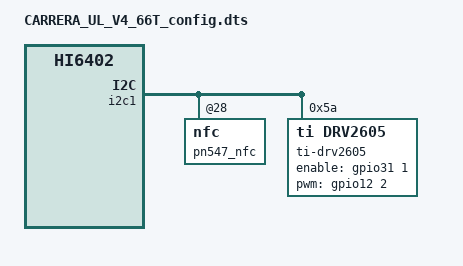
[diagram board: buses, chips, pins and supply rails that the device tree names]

/**
 * Huawei Ltd.
 * PhosphorV660
 */

/dts-v1/;

/include/ "fastboot.dtsi"
/include/ "CARRERA_UL_V3_66T_config.dtsi"
/include/ "CARRERA_UL_V4_66T_pin.dtsi"
/include/ "CARRERA_UL_V4_66T_hi6402_pin.dtsi"
/include/ "CARRERA_UL_V4_66T_modem_pin.dtsi"
///include/ "CARRERA_UL_V4_66T_charger.dtsi"
///include/ "CARRERA_UL_V4_66T_pmic.dtsi"
///include/ "CARRERA_UL_V4_66T_gpio_logic.dtsi"

/ {
	hisi,boardid = <1 4 7 3 >;
	hisi,boardname = "CARRERA_UL_V4_66T";
	hisi,modem_id = <0x3EB01400>;
	touchscreen {
		synaptics: touchscreen@70 {
			pinctrl-0 = <&gpio020_cfg_func &gpio200_cfg_func>;
			pinctrl-1 = <&gpio020_cfg_idle &gpio200_cfg_idle>;
			reset_gpio = <&gpio2 4 0>;
		};
		hideep: touchscreen@6c {
			pinctrl-0 = <&gpio020_cfg_func &gpio200_cfg_func>;
			pinctrl-1 = <&gpio020_cfg_idle &gpio200_cfg_idle>;
			reset_gpio = <&gpio2 4 0>;
		};
	};
	amba {
		i2c1: i2c@FDF0A000 {
			pn547_nfc:nfc@28 {
				nfc_nxp_name = "libnfc_nxp_carrera_L09_V4.conf";
				conf_for_factory = "true";
			};
			ti-drv2605@5a {
				compatible = "ti,drv2605";
				reg = <0x5a>;
				ti,label = "vibrator";
				gpio-enable = <&gpio31 1 0>;
				gpio-pwm = <&gpio12 2 0>;
				ti,max-timeout-ms = <10000>;
				status = "ok";
			};
		};
	};
	bcm_wifi {
		wlan_enable,gpio_vio = <&gpio28 1 0>;
		ext_type;
	};
	bluetooth_power:bluetooth_power{
		huawei,vio_en = <225>;
	};
	hisi_vibrator@fff34000 {
		status = "disable";
	};
	sensorhub_ext_config:sensorhub_ex{
		txc_pa224_exist = "yes";
	};
	devcheck: devcheck {
		vibrator_lra = <1>;
		l_sensor = <1>;
		ps_sensor = <1>;
		status = "ok";
	};
	immersion {
		compatible = "immersion,tspdrv";
		immersion_exist = "yes";
	};
};

